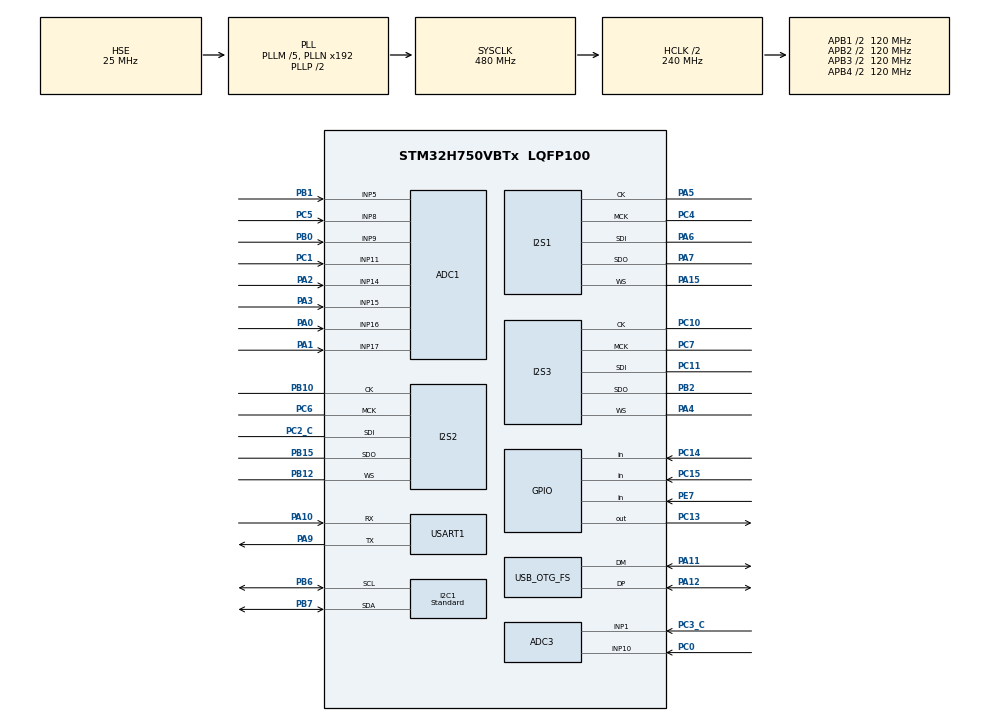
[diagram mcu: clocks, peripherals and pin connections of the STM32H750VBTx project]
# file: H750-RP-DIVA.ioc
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ADC1.Channel-1\#ChannelRegularConversion=ADC_CHANNEL_5
ADC1.NbrOfConversionFlag=1
ADC1.OffsetNumber-1\#ChannelRegularConversion=ADC_OFFSET_NONE
ADC1.OffsetSignedSaturation-1\#ChannelRegularConversion=DISABLE
ADC1.Rank-1\#ChannelRegularConversion=1
ADC1.SamplingTime-1\#ChannelRegularConversion=ADC_SAMPLETIME_1CYCLE_5
ADC1.master=1
ADC3.Channel-1\#ChannelRegularConversion=ADC_CHANNEL_1
ADC3.NbrOfConversionFlag=1
ADC3.OffsetNumber-1\#ChannelRegularConversion=ADC_OFFSET_NONE
ADC3.OffsetSignedSaturation-1\#ChannelRegularConversion=DISABLE
ADC3.Rank-1\#ChannelRegularConversion=1
ADC3.SamplingTime-1\#ChannelRegularConversion=ADC_SAMPLETIME_1CYCLE_5
CORTEX_M7.default_mode_Activation=1
Dma.I2C1_RX.6.Direction=DMA_PERIPH_TO_MEMORY
Dma.I2C1_RX.6.EventEnable=DISABLE
Dma.I2C1_RX.6.FIFOMode=DMA_FIFOMODE_DISABLE
Dma.I2C1_RX.6.Instance=DMA1_Stream6
Dma.I2C1_RX.6.MemDataAlignment=DMA_MDATAALIGN_BYTE
Dma.I2C1_RX.6.MemInc=DMA_MINC_ENABLE
Dma.I2C1_RX.6.Mode=DMA_NORMAL
Dma.I2C1_RX.6.PeriphDataAlignment=DMA_PDATAALIGN_BYTE
Dma.I2C1_RX.6.PeriphInc=DMA_PINC_DISABLE
Dma.I2C1_RX.6.Polarity=HAL_DMAMUX_REQ_GEN_RISING
Dma.I2C1_RX.6.Priority=DMA_PRIORITY_LOW
Dma.I2C1_RX.6.RequestNumber=1
Dma.I2C1_RX.6.SignalID=NONE
Dma.I2C1_RX.6.SyncEnable=DISABLE
Dma.I2C1_RX.6.SyncPolarity=HAL_DMAMUX_SYNC_NO_EVENT
Dma.I2C1_RX.6.SyncRequestNumber=1
Dma.I2C1_RX.6.SyncSignalID=NONE
Dma.Request0=SPI1_TX
Dma.Request1=SPI1_RX
Dma.Request2=SPI2_RX
Dma.Request3=SPI2_TX
Dma.Request4=SPI3_RX
Dma.Request5=SPI3_TX
Dma.Request6=I2C1_RX
Dma.SPI1_RX.1.Direction=DMA_PERIPH_TO_MEMORY
Dma.SPI1_RX.1.EventEnable=DISABLE
Dma.SPI1_RX.1.FIFOMode=DMA_FIFOMODE_DISABLE
Dma.SPI1_RX.1.Instance=DMA1_Stream1
Dma.SPI1_RX.1.MemDataAlignment=DMA_MDATAALIGN_WORD
Dma.SPI1_RX.1.MemInc=DMA_MINC_ENABLE
Dma.SPI1_RX.1.Mode=DMA_CIRCULAR
Dma.SPI1_RX.1.PeriphDataAlignment=DMA_PDATAALIGN_WORD
Dma.SPI1_RX.1.PeriphInc=DMA_PINC_DISABLE
Dma.SPI1_RX.1.Polarity=HAL_DMAMUX_REQ_GEN_RISING
Dma.SPI1_RX.1.Priority=DMA_PRIORITY_VERY_HIGH
Dma.SPI1_RX.1.RequestNumber=1
Dma.SPI1_RX.1.SignalID=NONE
Dma.SPI1_RX.1.SyncEnable=DISABLE
Dma.SPI1_RX.1.SyncPolarity=HAL_DMAMUX_SYNC_NO_EVENT
Dma.SPI1_RX.1.SyncRequestNumber=1
Dma.SPI1_RX.1.SyncSignalID=NONE
Dma.SPI1_TX.0.Direction=DMA_MEMORY_TO_PERIPH
Dma.SPI1_TX.0.EventEnable=DISABLE
Dma.SPI1_TX.0.FIFOMode=DMA_FIFOMODE_DISABLE
Dma.SPI1_TX.0.Instance=DMA1_Stream0
Dma.SPI1_TX.0.MemDataAlignment=DMA_MDATAALIGN_WORD
Dma.SPI1_TX.0.MemInc=DMA_MINC_ENABLE
Dma.SPI1_TX.0.Mode=DMA_CIRCULAR
Dma.SPI1_TX.0.PeriphDataAlignment=DMA_PDATAALIGN_WORD
Dma.SPI1_TX.0.PeriphInc=DMA_PINC_DISABLE
Dma.SPI1_TX.0.Polarity=HAL_DMAMUX_REQ_GEN_RISING
Dma.SPI1_TX.0.Priority=DMA_PRIORITY_VERY_HIGH
Dma.SPI1_TX.0.RequestNumber=1
Dma.SPI1_TX.0.SignalID=NONE
Dma.SPI1_TX.0.SyncEnable=DISABLE
Dma.SPI1_TX.0.SyncPolarity=HAL_DMAMUX_SYNC_NO_EVENT
Dma.SPI1_TX.0.SyncRequestNumber=1
Dma.SPI1_TX.0.SyncSignalID=NONE
Dma.SPI2_RX.2.Direction=DMA_PERIPH_TO_MEMORY
Dma.SPI2_RX.2.EventEnable=DISABLE
Dma.SPI2_RX.2.FIFOMode=DMA_FIFOMODE_DISABLE
Dma.SPI2_RX.2.Instance=DMA1_Stream3
Dma.SPI2_RX.2.MemDataAlignment=DMA_MDATAALIGN_WORD
Dma.SPI2_RX.2.MemInc=DMA_MINC_ENABLE
Dma.SPI2_RX.2.Mode=DMA_CIRCULAR
Dma.SPI2_RX.2.PeriphDataAlignment=DMA_PDATAALIGN_WORD
Dma.SPI2_RX.2.PeriphInc=DMA_PINC_DISABLE
Dma.SPI2_RX.2.Polarity=HAL_DMAMUX_REQ_GEN_RISING
Dma.SPI2_RX.2.Priority=DMA_PRIORITY_VERY_HIGH
Dma.SPI2_RX.2.RequestNumber=1
Dma.SPI2_RX.2.SignalID=NONE
Dma.SPI2_RX.2.SyncEnable=DISABLE
Dma.SPI2_RX.2.SyncPolarity=HAL_DMAMUX_SYNC_NO_EVENT
Dma.SPI2_RX.2.SyncRequestNumber=1
Dma.SPI2_RX.2.SyncSignalID=NONE
Dma.SPI2_TX.3.Direction=DMA_MEMORY_TO_PERIPH
Dma.SPI2_TX.3.EventEnable=DISABLE
Dma.SPI2_TX.3.FIFOMode=DMA_FIFOMODE_DISABLE
Dma.SPI2_TX.3.Instance=DMA1_Stream2
Dma.SPI2_TX.3.MemDataAlignment=DMA_MDATAALIGN_WORD
Dma.SPI2_TX.3.MemInc=DMA_MINC_ENABLE
Dma.SPI2_TX.3.Mode=DMA_CIRCULAR
Dma.SPI2_TX.3.PeriphDataAlignment=DMA_PDATAALIGN_WORD
Dma.SPI2_TX.3.PeriphInc=DMA_PINC_DISABLE
Dma.SPI2_TX.3.Polarity=HAL_DMAMUX_REQ_GEN_RISING
Dma.SPI2_TX.3.Priority=DMA_PRIORITY_VERY_HIGH
Dma.SPI2_TX.3.RequestNumber=1
Dma.SPI2_TX.3.SignalID=NONE
Dma.SPI2_TX.3.SyncEnable=DISABLE
Dma.SPI2_TX.3.SyncPolarity=HAL_DMAMUX_SYNC_NO_EVENT
Dma.SPI2_TX.3.SyncRequestNumber=1
Dma.SPI2_TX.3.SyncSignalID=NONE
Dma.SPI3_RX.4.Direction=DMA_PERIPH_TO_MEMORY
Dma.SPI3_RX.4.EventEnable=DISABLE
Dma.SPI3_RX.4.FIFOMode=DMA_FIFOMODE_DISABLE
Dma.SPI3_RX.4.Instance=DMA1_Stream4
Dma.SPI3_RX.4.MemDataAlignment=DMA_MDATAALIGN_WORD
Dma.SPI3_RX.4.MemInc=DMA_MINC_ENABLE
Dma.SPI3_RX.4.Mode=DMA_CIRCULAR
Dma.SPI3_RX.4.PeriphDataAlignment=DMA_PDATAALIGN_WORD
Dma.SPI3_RX.4.PeriphInc=DMA_PINC_DISABLE
Dma.SPI3_RX.4.Polarity=HAL_DMAMUX_REQ_GEN_RISING
Dma.SPI3_RX.4.Priority=DMA_PRIORITY_LOW
Dma.SPI3_RX.4.RequestNumber=1
Dma.SPI3_RX.4.SignalID=NONE
Dma.SPI3_RX.4.SyncEnable=DISABLE
Dma.SPI3_RX.4.SyncPolarity=HAL_DMAMUX_SYNC_NO_EVENT
Dma.SPI3_RX.4.SyncRequestNumber=1
Dma.SPI3_RX.4.SyncSignalID=NONE
Dma.SPI3_TX.5.Direction=DMA_MEMORY_TO_PERIPH
Dma.SPI3_TX.5.EventEnable=DISABLE
Dma.SPI3_TX.5.FIFOMode=DMA_FIFOMODE_DISABLE
Dma.SPI3_TX.5.Instance=DMA1_Stream5
Dma.SPI3_TX.5.MemDataAlignment=DMA_MDATAALIGN_WORD
Dma.SPI3_TX.5.MemInc=DMA_MINC_ENABLE
Dma.SPI3_TX.5.Mode=DMA_CIRCULAR
Dma.SPI3_TX.5.PeriphDataAlignment=DMA_PDATAALIGN_WORD
Dma.SPI3_TX.5.PeriphInc=DMA_PINC_DISABLE
Dma.SPI3_TX.5.Polarity=HAL_DMAMUX_REQ_GEN_RISING
Dma.SPI3_TX.5.Priority=DMA_PRIORITY_LOW
Dma.SPI3_TX.5.RequestNumber=1
Dma.SPI3_TX.5.SignalID=NONE
Dma.SPI3_TX.5.SyncEnable=DISABLE
Dma.SPI3_TX.5.SyncPolarity=HAL_DMAMUX_SYNC_NO_EVENT
Dma.SPI3_TX.5.SyncRequestNumber=1
Dma.SPI3_TX.5.SyncSignalID=NONE
FREERTOS.Tasks01=defaultTask,24,128,StartDefaultTask,Default,NULL,Dynamic,NULL,NULL
I2C1.I2C_Speed_Mode=I2C_Standard
I2C1.Timing=0x307075B1
I2S1.AudioFreq=I2S_AUDIOFREQ_48K
I2S1.Data24BitAlignment=I2S_DATA_24BIT_ALIGNMENT_RIGHT
I2S1.DataFormat=I2S_DATAFORMAT_24B
I2S1.ErrorAudioFreq=-2.34 %
I2S1.FirstBit=I2S_FIRSTBIT_MSB
I2S1.Instance=SPI$Index
I2S1.RealAudioFreq=46.875 KHz
I2S1.WSInversion=I2S_WS_INVERSION_DISABLE
I2S2.AudioFreq=I2S_AUDIOFREQ_48K
I2S2.DataFormat=I2S_DATAFORMAT_24B
I2S2.ErrorAudioFreq=-2.34 %
I2S2.Instance=SPI$Index
I2S2.RealAudioFreq=46.875 KHz
I2S3.AudioFreq=I2S_AUDIOFREQ_48K
I2S3.DataFormat=I2S_DATAFORMAT_24B
I2S3.ErrorAudioFreq=-2.34 %
I2S3.Instance=SPI$Index
I2S3.RealAudioFreq=46.875 KHz
Mcu.Family=STM32H7
Mcu.Name=STM32H750VBTx
Mcu.Package=LQFP100
NVIC.DMA1_Stream0_IRQn=true\:5\:0\:false\:false\:true\:true\:false\:true\:true
NVIC.DMA1_Stream1_IRQn=true\:5\:0\:false\:false\:true\:true\:false\:true\:true
NVIC.DMA1_Stream2_IRQn=true\:5\:0\:false\:false\:true\:true\:false\:true\:true
NVIC.DMA1_Stream3_IRQn=true\:5\:0\:false\:false\:true\:true\:false\:true\:true
NVIC.DMA1_Stream4_IRQn=true\:5\:0\:false\:false\:true\:true\:false\:true\:true
NVIC.DMA1_Stream5_IRQn=true\:5\:0\:false\:false\:true\:true\:false\:true\:true
NVIC.DMA1_Stream6_IRQn=true\:5\:0\:false\:false\:true\:true\:false\:true\:true
NVIC.OTG_FS_IRQn=true\:5\:0\:false\:false\:true\:true\:false\:true\:true
NVIC.PriorityGroup=NVIC_PRIORITYGROUP_4
PA0.Mode=IN16-Single-Ended
PA0.Signal=ADC1_INP16
PA1.Mode=IN17-Single-Ended
PA1.Signal=ADC1_INP17
PA10.Mode=Asynchronous
PA10.PinAttribute=Free
PA10.Signal=USART1_RX
PA11.Mode=Device_Only
PA11.Signal=USB_OTG_FS_DM
PA12.Mode=Device_Only
PA12.Signal=USB_OTG_FS_DP
PA13\ (JTMS/SWDIO).Mode=Serial_Wire
PA13\ (JTMS/SWDIO).Signal=DEBUG_JTMS-SWDIO
PA14\ (JTCK/SWCLK).Mode=Serial_Wire
PA14\ (JTCK/SWCLK).Signal=DEBUG_JTCK-SWCLK
PA15\ (JTDI).Mode=Full_Duplex_Master
PA15\ (JTDI).PinAttribute=Free
PA15\ (JTDI).Signal=I2S1_WS
PA2.Signal=ADCx_INP14
PA3.Signal=ADCx_INP15
PA4.Mode=Full_Duplex_Master
PA4.Signal=I2S3_WS
PA5.Mode=Full_Duplex_Master
PA5.PinAttribute=Free
PA5.Signal=I2S1_CK
PA6.Mode=Full_Duplex_Master
PA6.PinAttribute=Free
PA6.Signal=I2S1_SDI
PA7.Mode=Full_Duplex_Master
PA7.PinAttribute=Free
PA7.Signal=I2S1_SDO
PA9.Mode=Asynchronous
PA9.PinAttribute=Free
PA9.Signal=USART1_TX
PB0.Signal=ADCx_INP9
PB1.Signal=ADCx_INP5
PB10.Mode=Full_Duplex_Master
PB10.Signal=I2S2_CK
PB12.Mode=Full_Duplex_Master
PB12.Signal=I2S2_WS
PB15.Mode=Full_Duplex_Master
PB15.Signal=I2S2_SDO
PB2.Mode=Full_Duplex_Master
PB2.Signal=I2S3_SDO
PB6.Mode=I2C
PB6.Signal=I2C1_SCL
PB7.Mode=I2C
PB7.Signal=I2C1_SDA
PC0.Signal=ADCx_INP10
PC1.Signal=ADCx_INP11
PC10.Mode=Full_Duplex_Master
PC10.Signal=I2S3_CK
PC11.Mode=Full_Duplex_Master
PC11.Signal=I2S3_SDI
PC13.Signal=GPIO_Output
PC14-OSC32_IN\ (OSC32_IN).Signal=GPIO_Input
PC15-OSC32_OUT\ (OSC32_OUT).Signal=GPIO_Input
PC2_C.Mode=Full_Duplex_Master
PC2_C.Signal=I2S2_SDI
PC3_C.Mode=IN1-Single-Ended
PC3_C.Signal=ADC3_INP1
PC4.Mode=Master_Clock_Activated
PC4.PinAttribute=Free
PC4.Signal=I2S1_MCK
PC5.Signal=ADCx_INP8
PC6.Mode=Master_Clock_Activated
PC6.Signal=I2S2_MCK
PC7.Mode=Master_Clock_Activated
PC7.Signal=I2S3_MCK
PE7.Signal=GPIO_Input
PH0-OSC_IN\ (PH0).Mode=HSE-External-Oscillator
PH0-OSC_IN\ (PH0).Signal=RCC_OSC_IN
PH1-OSC_OUT\ (PH1).Mode=HSE-External-Oscillator
PH1-OSC_OUT\ (PH1).Signal=RCC_OSC_OUT
ProjectManager.HeapSize=0x4000
ProjectManager.StackSize=0x4000
ProjectManager.TargetToolchain=MDK-ARM V5.32
RCC.ADCCLockSelection=RCC_ADCCLKSOURCE_PLL3
RCC.ADCFreq_Value=80000000
RCC.APB1Freq_Value=120000000
RCC.APB2Freq_Value=120000000
RCC.APB3Freq_Value=120000000
RCC.APB4Freq_Value=120000000
RCC.CortexFreq_Value=480000000
RCC.D1PPRE=RCC_APB3_DIV2
RCC.D2PPRE1=RCC_APB1_DIV2
RCC.D2PPRE2=RCC_APB2_DIV2
RCC.D3PPRE=RCC_APB4_DIV2
RCC.DIVM1=5
RCC.DIVM2=5
RCC.DIVM3=5
RCC.DIVN1=192
RCC.DIVN2=192
RCC.DIVN3=192
RCC.DIVP2=5
RCC.DIVP3=8
RCC.DIVQ1=7
RCC.DIVQ2=8
RCC.DIVQ3=20
RCC.DIVR2=4
RCC.DIVR3=12
RCC.HCLKFreq_Value=240000000
RCC.HPRE=RCC_HCLK_DIV2
RCC.HSE_VALUE=25000000
RCC.HSIDiv=RCC_PLLSAIDIVR_4
RCC.PLL2_VCI_Range-AdvancedSettings=RCC_PLL2VCIRANGE_3
RCC.PLLSourceVirtual=RCC_PLLSOURCE_HSE
RCC.QSPICLockSelection=RCC_QSPICLKSOURCE_PLL2
RCC.SAI1CLockSelection=RCC_SAI1CLKSOURCE_PLL3
RCC.SAI23CLockSelection=RCC_SAI23CLKSOURCE_PLL3
RCC.SPI123CLockSelection=RCC_SPI123CLKSOURCE_PLL2
RCC.SYSCLKFreq_VALUE=480000000
RCC.SYSCLKSource=RCC_SYSCLKSOURCE_PLLCLK
RCC.USART16CLockSelection=RCC_USART16CLKSOURCE_PLL2
RCC.USBCLockSelection=RCC_USBCLKSOURCE_PLL3
RCC.USBFreq_Value=48000000
SH.ADCx_INP10.0=ADC3_INP10,IN10-Single-Ended
SH.ADCx_INP11.0=ADC1_INP11,IN11-Single-Ended
SH.ADCx_INP14.0=ADC1_INP14,IN14-Single-Ended
SH.ADCx_INP15.0=ADC1_INP15,IN15-Single-Ended
SH.ADCx_INP5.0=ADC1_INP5,IN5-Single-Ended
SH.ADCx_INP8.0=ADC1_INP8,IN8-Single-Ended
SH.ADCx_INP9.0=ADC1_INP9,IN9-Single-Ended
USART1.VirtualMode-Asynchronous=VM_ASYNC
USB_DEVICE.CLASS_NAME_FS=HID
USB_DEVICE.PRODUCT_STRING_HID_FS=RP-DIVA
USB_DEVICE.VirtualMode-HID_FS=Hid
USB_DEVICE.VirtualModeFS=Hid_FS
USB_OTG_FS.VirtualMode=Device_Only
USB_OTG_FS.dma_enable=DISABLE
VP_FREERTOS_VS_CMSIS_V2.Mode=CMSIS_V2
VP_MEMORYMAP_VS_MEMORYMAP.Mode=CurAppReg
VP_USB_DEVICE_VS_USB_DEVICE_HID_FS.Mode=HID_FS
board=custom

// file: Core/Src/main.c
/* USER CODE BEGIN Header */
/**
 ******************************************************************************
 * @file           : main.c
 * @brief          : Main program body
 ******************************************************************************
 * @attention
 *
 * Copyright (c) 2024 STMicroelectronics.
 * All rights reserved.
 *
 * This software is licensed under terms that can be found in the LICENSE file
 * in the root directory of this software component.
 * If no LICENSE file comes with this software, it is provided AS-IS.
 *
 ******************************************************************************
 */
/* USER CODE END Header */
#include "main.h"
#include "cmsis_os.h"
#include "usb_device.h"

/* USER CODE BEGIN Includes */

#include "stm32h7xx_hal.h"
#include "printf.h"
#include "stdlib.h"
#include "codec.h"

#include "midi.h"
#include "synth.h"
#include "lpc.h"

/* USER CODE END Includes */

ADC_HandleTypeDef hadc1;
ADC_HandleTypeDef hadc3;

I2C_HandleTypeDef hi2c1;
DMA_HandleTypeDef hdma_i2c1_rx;

I2S_HandleTypeDef hi2s1;
I2S_HandleTypeDef hi2s2;
I2S_HandleTypeDef hi2s3;
DMA_HandleTypeDef hdma_spi1_tx;
DMA_HandleTypeDef hdma_spi1_rx;
DMA_HandleTypeDef hdma_spi2_rx;
DMA_HandleTypeDef hdma_spi2_tx;
DMA_HandleTypeDef hdma_spi3_rx;
DMA_HandleTypeDef hdma_spi3_tx;

UART_HandleTypeDef huart1;

/* Definitions for defaultTask */
osThreadId_t defaultTaskHandle;
const osThreadAttr_t defaultTask_attributes = {
  .name = "defaultTask",
  .stack_size = 128 * 4,
  .priority = (osPriority_t) osPriorityNormal,
};

void SystemClock_Config(void);
void PeriphCommonClock_Config(void);
static void MPU_Config(void);
static void MX_GPIO_Init(void);
static void MX_DMA_Init(void);
static void MX_I2S1_Init(void);
static void MX_USART1_UART_Init(void);
static void MX_I2S2_Init(void);
static void MX_I2S3_Init(void);
static void MX_ADC1_Init(void);
static void MX_ADC3_Init(void);
static void MX_I2C1_Init(void);
void StartDefaultTask(void *argument);

/* USER CODE BEGIN 0 */

#define buflen 768

Synth syn;
float recl[buflen / 2];
float recr[buflen / 2];
float bufl[buflen / 2];
float bufr[buflen / 2];

float hpvl = 0; // 给audio in加个高�?�用�?
float hpvr = 0;
float hpctof = 50 / 48000;

void __attribute__((section("ITCMRAM"))) processBlock()
{
  while (HasMidiMsg())
  {
    SynthProcMidi(&syn, GetMidiMsg());
  }

  int numSamples = codecGetNumSamples();
  int32_t *recbuf1 = codecGetRx1Ptr();
  int32_t *wavbuf1 = codecGetTx1Ptr();
  int32_t *recbuf2 = codecGetRx2Ptr();
  int32_t *wavbuf2 = codecGetTx2Ptr();
  int32_t *recbuf3 = codecGetRx3Ptr();
  int32_t *wavbuf3 = codecGetTx3Ptr();
  float to_int = (int)1 << 22;
  float div_to_int = 1.0 / to_int;
  for (int i = 0, j = 0; i < numSamples; i += 2, j++)
  {
    float vl = recbuf1[i + 0] * div_to_int;
    float vr = recbuf1[i + 1] * div_to_int;
    hpvl += hpctof * (vl - hpvl);
    hpvr += hpctof * (vr - hpvr);
    recl[j] = vl - hpvl;
    recr[j] = vr - hpvr;
  }
  SynthProcessBlock(&syn, recl, recr, bufl, bufr, buflen / 2);
  for (int i = 0, j = 0; i < numSamples; i += 2, j++)
  {
    wavbuf1[i + 0] = bufl[j] * to_int * 0.25;
    wavbuf1[i + 1] = bufr[j] * to_int * 0.25;
  }
}

//////////////////////////////////////////////////////////////
// I2C
typedef struct __packed
{
  float adc[16];
  char gpio[30];
} F103IOInfo;

F103IOInfo F103IORecv, F103IOCopy;
void HAL_I2C_MasterRxCpltCallback(I2C_HandleTypeDef *hi2c)
{
  if (hi2c == &hi2c1)
  {
    F103IOCopy = F103IORecv;
    uart_printf("recv!\r\n");
  }
}

/* USER CODE END 0 */

int main(void)
{

  /* MPU Configuration--------------------------------------------------------*/
  MPU_Config();

  /* MCU Configuration--------------------------------------------------------*/

  /* Reset of all peripherals, Initializes the Flash interface and the Systick. */
  HAL_Init();

  /* Configure the system clock */
  SystemClock_Config();

  /* Configure the peripherals common clocks */
  PeriphCommonClock_Config();

  /* Initialize all configured peripherals */
  MX_GPIO_Init();
  MX_DMA_Init();
  MX_I2S1_Init();
  MX_USART1_UART_Init();
  MX_I2S2_Init();
  MX_I2S3_Init();
  MX_ADC1_Init();
  MX_ADC3_Init();
  MX_I2C1_Init();
  /* USER CODE BEGIN 2 */

  uart_setUartHandle(&huart1);
  uart_printf("\r\nSystemClock:%.5fMhz", (float)HAL_RCC_GetSysClockFreq() / 1000000.0);

  /* USER CODE END 2 */

  /* Init scheduler */
  osKernelInitialize();

  /* Create the thread(s) */
  /* creation of defaultTask */
  defaultTaskHandle = osThreadNew(StartDefaultTask, NULL, &defaultTask_attributes);

  /* Start scheduler */
  osKernelStart();

  /* We should never get here as control is now taken by the scheduler */

  /* Infinite loop */
  /* USER CODE BEGIN WHILE */

  ResetSynth(&syn);

  // HAL_Delay(50);
  codecInit(&hi2s1, &hi2s2, &hi2s3);
  // HAL_Delay(150);

  SysTick->LOAD = 0xFFFFFF;
  uint64_t allTime = 0;
  uint64_t procTime = 0;
  for (int nCount = 0;; nCount++)
  {
    SysTick->VAL = 0;
    codecWaitForAllBufferPrepare();

    int timeA = 0xFFFFFF - SysTick->VAL;
    processBlock();
    int timeB = 0xFFFFFF - SysTick->VAL;

    allTime += timeB;
    procTime += timeB - timeA;

    HAL_I2C_Master_Receive_DMA(&hi2c1, 0x33, (uint8_t *)&F103IORecv, sizeof(F103IOInfo));

    if (nCount >= 96)
    {
      uart_printf("\r\ncpu:%.5f%%", (double)procTime / allTime * 100.0);
      nCount = 0;
      allTime = 0;
      procTime = 0;
    }
  }

    /* USER CODE END WHILE */

}

void SystemClock_Config(void)
{
  RCC_OscInitTypeDef RCC_OscInitStruct = {0};
  RCC_ClkInitTypeDef RCC_ClkInitStruct = {0};

  /** Supply configuration update enable
  */
  HAL_PWREx_ConfigSupply(PWR_LDO_SUPPLY);

  /** Configure the main internal regulator output voltage
  */
  __HAL_PWR_VOLTAGESCALING_CONFIG(PWR_REGULATOR_VOLTAGE_SCALE1);

  while(!__HAL_PWR_GET_FLAG(PWR_FLAG_VOSRDY)) {}

  __HAL_RCC_SYSCFG_CLK_ENABLE();
  __HAL_PWR_VOLTAGESCALING_CONFIG(PWR_REGULATOR_VOLTAGE_SCALE0);

  while(!__HAL_PWR_GET_FLAG(PWR_FLAG_VOSRDY)) {}

  /** Initializes the RCC Oscillators according to the specified parameters
  * in the RCC_OscInitTypeDef structure.
  */
  RCC_OscInitStruct.OscillatorType = RCC_OSCILLATORTYPE_HSE;
  RCC_OscInitStruct.HSEState = RCC_HSE_ON;
  RCC_OscInitStruct.PLL.PLLState = RCC_PLL_ON;
  RCC_OscInitStruct.PLL.PLLSource = RCC_PLLSOURCE_HSE;
  RCC_OscInitStruct.PLL.PLLM = 5;
  RCC_OscInitStruct.PLL.PLLN = 192;
  RCC_OscInitStruct.PLL.PLLP = 2;
  RCC_OscInitStruct.PLL.PLLQ = 7;
  RCC_OscInitStruct.PLL.PLLR = 2;
  RCC_OscInitStruct.PLL.PLLRGE = RCC_PLL1VCIRANGE_2;
  RCC_OscInitStruct.PLL.PLLVCOSEL = RCC_PLL1VCOWIDE;
  RCC_OscInitStruct.PLL.PLLFRACN = 0;
  if (HAL_RCC_OscConfig(&RCC_OscInitStruct) != HAL_OK)
  {
    Error_Handler();
  }

  /** Initializes the CPU, AHB and APB buses clocks
  */
  RCC_ClkInitStruct.ClockType = RCC_CLOCKTYPE_HCLK|RCC_CLOCKTYPE_SYSCLK
                              |RCC_CLOCKTYPE_PCLK1|RCC_CLOCKTYPE_PCLK2
                              |RCC_CLOCKTYPE_D3PCLK1|RCC_CLOCKTYPE_D1PCLK1;
  RCC_ClkInitStruct.SYSCLKSource = RCC_SYSCLKSOURCE_PLLCLK;
  RCC_ClkInitStruct.SYSCLKDivider = RCC_SYSCLK_DIV1;
  RCC_ClkInitStruct.AHBCLKDivider = RCC_HCLK_DIV2;
  RCC_ClkInitStruct.APB3CLKDivider = RCC_APB3_DIV2;
  RCC_ClkInitStruct.APB1CLKDivider = RCC_APB1_DIV2;
  RCC_ClkInitStruct.APB2CLKDivider = RCC_APB2_DIV2;
  RCC_ClkInitStruct.APB4CLKDivider = RCC_APB4_DIV2;

  if (HAL_RCC_ClockConfig(&RCC_ClkInitStruct, FLASH_LATENCY_4) != HAL_OK)
  {
    Error_Handler();
  }
}

void PeriphCommonClock_Config(void)
{
  RCC_PeriphCLKInitTypeDef PeriphClkInitStruct = {0};

  /** Initializes the peripherals clock
  */
  PeriphClkInitStruct.PeriphClockSelection = RCC_PERIPHCLK_USB|RCC_PERIPHCLK_ADC
                              |RCC_PERIPHCLK_SPI3|RCC_PERIPHCLK_SPI2
                              |RCC_PERIPHCLK_SPI1|RCC_PERIPHCLK_USART1;
  PeriphClkInitStruct.PLL2.PLL2M = 5;
  PeriphClkInitStruct.PLL2.PLL2N = 192;
  PeriphClkInitStruct.PLL2.PLL2P = 5;
  PeriphClkInitStruct.PLL2.PLL2Q = 8;
  PeriphClkInitStruct.PLL2.PLL2R = 4;
  PeriphClkInitStruct.PLL2.PLL2RGE = RCC_PLL2VCIRANGE_2;
  PeriphClkInitStruct.PLL2.PLL2VCOSEL = RCC_PLL2VCOWIDE;
  PeriphClkInitStruct.PLL2.PLL2FRACN = 0;
  PeriphClkInitStruct.PLL3.PLL3M = 5;
  PeriphClkInitStruct.PLL3.PLL3N = 192;
  PeriphClkInitStruct.PLL3.PLL3P = 8;
  PeriphClkInitStruct.PLL3.PLL3Q = 20;
  PeriphClkInitStruct.PLL3.PLL3R = 12;
  PeriphClkInitStruct.PLL3.PLL3RGE = RCC_PLL3VCIRANGE_2;
  PeriphClkInitStruct.PLL3.PLL3VCOSEL = RCC_PLL3VCOWIDE;
  PeriphClkInitStruct.PLL3.PLL3FRACN = 0;
  PeriphClkInitStruct.Spi123ClockSelection = RCC_SPI123CLKSOURCE_PLL2;
  PeriphClkInitStruct.Usart16ClockSelection = RCC_USART16CLKSOURCE_PLL2;
  PeriphClkInitStruct.UsbClockSelection = RCC_USBCLKSOURCE_PLL3;
  PeriphClkInitStruct.AdcClockSelection = RCC_ADCCLKSOURCE_PLL3;
  if (HAL_RCCEx_PeriphCLKConfig(&PeriphClkInitStruct) != HAL_OK)
  {
    Error_Handler();
  }
}

static void MX_ADC1_Init(void)
{

  ADC_MultiModeTypeDef multimode = {0};
  ADC_ChannelConfTypeDef sConfig = {0};

  /** Common config
  */
  hadc1.Instance = ADC1;
  hadc1.Init.ScanConvMode = ADC_SCAN_DISABLE;
  hadc1.Init.EOCSelection = ADC_EOC_SINGLE_CONV;
  hadc1.Init.LowPowerAutoWait = DISABLE;
  hadc1.Init.ContinuousConvMode = DISABLE;
  hadc1.Init.NbrOfConversion = 1;
  hadc1.Init.DiscontinuousConvMode = DISABLE;
  hadc1.Init.ExternalTrigConv = ADC_SOFTWARE_START;
  hadc1.Init.ExternalTrigConvEdge = ADC_EXTERNALTRIGCONVEDGE_NONE;
  hadc1.Init.ConversionDataManagement = ADC_CONVERSIONDATA_DR;
  hadc1.Init.Overrun = ADC_OVR_DATA_PRESERVED;
  hadc1.Init.LeftBitShift = ADC_LEFTBITSHIFT_NONE;
  hadc1.Init.OversamplingMode = DISABLE;
  hadc1.Init.Oversampling.Ratio = 1;
  if (HAL_ADC_Init(&hadc1) != HAL_OK)
  {
    Error_Handler();
  }
  hadc1.Init.ClockPrescaler = ADC_CLOCK_ASYNC_DIV1;
  hadc1.Init.Resolution = ADC_RESOLUTION_16B;
  if (HAL_ADC_Init(&hadc1) != HAL_OK)
  {
    Error_Handler();
  }

  /** Configure the ADC multi-mode
  */
  multimode.Mode = ADC_MODE_INDEPENDENT;
  if (HAL_ADCEx_MultiModeConfigChannel(&hadc1, &multimode) != HAL_OK)
  {
    Error_Handler();
  }

  /** Configure Regular Channel
  */
  sConfig.Channel = ADC_CHANNEL_5;
  sConfig.Rank = ADC_REGULAR_RANK_1;
  sConfig.SamplingTime = ADC_SAMPLETIME_1CYCLE_5;
  sConfig.SingleDiff = ADC_SINGLE_ENDED;
  sConfig.OffsetNumber = ADC_OFFSET_NONE;
  sConfig.Offset = 0;
  sConfig.OffsetSignedSaturation = DISABLE;
  if (HAL_ADC_ConfigChannel(&hadc1, &sConfig) != HAL_OK)
  {
    Error_Handler();
  }

}

static void MX_ADC3_Init(void)
{

  ADC_ChannelConfTypeDef sConfig = {0};

  /** Common config
  */
  hadc3.Instance = ADC3;
  hadc3.Init.ClockPrescaler = ADC_CLOCK_ASYNC_DIV1;
  hadc3.Init.ScanConvMode = ADC_SCAN_DISABLE;
  hadc3.Init.EOCSelection = ADC_EOC_SINGLE_CONV;
  hadc3.Init.LowPowerAutoWait = DISABLE;
  hadc3.Init.ContinuousConvMode = DISABLE;
  hadc3.Init.NbrOfConversion = 1;
  hadc3.Init.DiscontinuousConvMode = DISABLE;
  hadc3.Init.ExternalTrigConv = ADC_SOFTWARE_START;
  hadc3.Init.ExternalTrigConvEdge = ADC_EXTERNALTRIGCONVEDGE_NONE;
  hadc3.Init.ConversionDataManagement = ADC_CONVERSIONDATA_DR;
  hadc3.Init.Overrun = ADC_OVR_DATA_PRESERVED;
  hadc3.Init.LeftBitShift = ADC_LEFTBITSHIFT_NONE;
  hadc3.Init.OversamplingMode = DISABLE;
  hadc3.Init.Oversampling.Ratio = 1;
  if (HAL_ADC_Init(&hadc3) != HAL_OK)
  {
    Error_Handler();
  }
  hadc3.Init.Resolution = ADC_RESOLUTION_16B;
  if (HAL_ADC_Init(&hadc3) != HAL_OK)
  {
    Error_Handler();
  }

  /** Configure Regular Channel
  */
  sConfig.Channel = ADC_CHANNEL_1;
  sConfig.Rank = ADC_REGULAR_RANK_1;
  sConfig.SamplingTime = ADC_SAMPLETIME_1CYCLE_5;
  sConfig.SingleDiff = ADC_SINGLE_ENDED;
  sConfig.OffsetNumber = ADC_OFFSET_NONE;
  sConfig.Offset = 0;
  sConfig.OffsetSignedSaturation = DISABLE;
  if (HAL_ADC_ConfigChannel(&hadc3, &sConfig) != HAL_OK)
  {
    Error_Handler();
  }

}

static void MX_I2C1_Init(void)
{

  hi2c1.Instance = I2C1;
  hi2c1.Init.Timing = 0x307075B1;
  hi2c1.Init.OwnAddress1 = 0;
  hi2c1.Init.AddressingMode = I2C_ADDRESSINGMODE_7BIT;
  hi2c1.Init.DualAddressMode = I2C_DUALADDRESS_DISABLE;
  hi2c1.Init.OwnAddress2 = 0;
  hi2c1.Init.OwnAddress2Masks = I2C_OA2_NOMASK;
  hi2c1.Init.GeneralCallMode = I2C_GENERALCALL_DISABLE;
  hi2c1.Init.NoStretchMode = I2C_NOSTRETCH_DISABLE;
  if (HAL_I2C_Init(&hi2c1) != HAL_OK)
  {
    Error_Handler();
  }

  /** Configure Analogue filter
  */
  if (HAL_I2CEx_ConfigAnalogFilter(&hi2c1, I2C_ANALOGFILTER_ENABLE) != HAL_OK)
  {
    Error_Handler();
  }

  /** Configure Digital filter
  */
  if (HAL_I2CEx_ConfigDigitalFilter(&hi2c1, 0) != HAL_OK)
  {
    Error_Handler();
  }

}

static void MX_I2S1_Init(void)
{

  hi2s1.Instance = SPI1;
  hi2s1.Init.Mode = I2S_MODE_MASTER_FULLDUPLEX;
  hi2s1.Init.Standard = I2S_STANDARD_PHILIPS;
  hi2s1.Init.DataFormat = I2S_DATAFORMAT_24B;
  hi2s1.Init.MCLKOutput = I2S_MCLKOUTPUT_ENABLE;
  hi2s1.Init.AudioFreq = I2S_AUDIOFREQ_48K;
  hi2s1.Init.CPOL = I2S_CPOL_LOW;
  hi2s1.Init.FirstBit = I2S_FIRSTBIT_MSB;
  hi2s1.Init.WSInversion = I2S_WS_INVERSION_DISABLE;
  hi2s1.Init.Data24BitAlignment = I2S_DATA_24BIT_ALIGNMENT_RIGHT;
  hi2s1.Init.MasterKeepIOState = I2S_MASTER_KEEP_IO_STATE_DISABLE;
  if (HAL_I2S_Init(&hi2s1) != HAL_OK)
  {
    Error_Handler();
  }

}

static void MX_I2S2_Init(void)
{

  hi2s2.Instance = SPI2;
  hi2s2.Init.Mode = I2S_MODE_MASTER_FULLDUPLEX;
  hi2s2.Init.Standard = I2S_STANDARD_PHILIPS;
  hi2s2.Init.DataFormat = I2S_DATAFORMAT_24B;
  hi2s2.Init.MCLKOutput = I2S_MCLKOUTPUT_ENABLE;
  hi2s2.Init.AudioFreq = I2S_AUDIOFREQ_48K;
  hi2s2.Init.CPOL = I2S_CPOL_LOW;
  hi2s2.Init.FirstBit = I2S_FIRSTBIT_MSB;
  hi2s2.Init.WSInversion = I2S_WS_INVERSION_DISABLE;
  hi2s2.Init.Data24BitAlignment = I2S_DATA_24BIT_ALIGNMENT_RIGHT;
  hi2s2.Init.MasterKeepIOState = I2S_MASTER_KEEP_IO_STATE_DISABLE;
  if (HAL_I2S_Init(&hi2s2) != HAL_OK)
  {
    Error_Handler();
  }

}

static void MX_I2S3_Init(void)
{

  hi2s3.Instance = SPI3;
  hi2s3.Init.Mode = I2S_MODE_MASTER_FULLDUPLEX;
  hi2s3.Init.Standard = I2S_STANDARD_PHILIPS;
  hi2s3.Init.DataFormat = I2S_DATAFORMAT_24B;
  hi2s3.Init.MCLKOutput = I2S_MCLKOUTPUT_ENABLE;
  hi2s3.Init.AudioFreq = I2S_AUDIOFREQ_48K;
  hi2s3.Init.CPOL = I2S_CPOL_LOW;
  hi2s3.Init.FirstBit = I2S_FIRSTBIT_MSB;
  hi2s3.Init.WSInversion = I2S_WS_INVERSION_DISABLE;
  hi2s3.Init.Data24BitAlignment = I2S_DATA_24BIT_ALIGNMENT_RIGHT;
  hi2s3.Init.MasterKeepIOState = I2S_MASTER_KEEP_IO_STATE_DISABLE;
  if (HAL_I2S_Init(&hi2s3) != HAL_OK)
  {
    Error_Handler();
  }

}

static void MX_USART1_UART_Init(void)
{

  huart1.Instance = USART1;
  huart1.Init.BaudRate = 115200;
  huart1.Init.WordLength = UART_WORDLENGTH_8B;
  huart1.Init.StopBits = UART_STOPBITS_1;
  huart1.Init.Parity = UART_PARITY_NONE;
  huart1.Init.Mode = UART_MODE_TX_RX;
  huart1.Init.HwFlowCtl = UART_HWCONTROL_NONE;
  huart1.Init.OverSampling = UART_OVERSAMPLING_16;
  huart1.Init.OneBitSampling = UART_ONE_BIT_SAMPLE_DISABLE;
  huart1.Init.ClockPrescaler = UART_PRESCALER_DIV1;
  huart1.AdvancedInit.AdvFeatureInit = UART_ADVFEATURE_NO_INIT;
  if (HAL_UART_Init(&huart1) != HAL_OK)
  {
    Error_Handler();
  }
  if (HAL_UARTEx_SetTxFifoThreshold(&huart1, UART_TXFIFO_THRESHOLD_1_8) != HAL_OK)
  {
    Error_Handler();
  }
  if (HAL_UARTEx_SetRxFifoThreshold(&huart1, UART_RXFIFO_THRESHOLD_1_8) != HAL_OK)
  {
    Error_Handler();
  }
  if (HAL_UARTEx_DisableFifoMode(&huart1) != HAL_OK)
  {
    Error_Handler();
  }

}

static void MX_DMA_Init(void)
{

  /* DMA controller clock enable */
  __HAL_RCC_DMA1_CLK_ENABLE();

  /* DMA interrupt init */
  /* DMA1_Stream0_IRQn interrupt configuration */
  HAL_NVIC_SetPriority(DMA1_Stream0_IRQn, 5, 0);
  HAL_NVIC_EnableIRQ(DMA1_Stream0_IRQn);
  /* DMA1_Stream1_IRQn interrupt configuration */
  HAL_NVIC_SetPriority(DMA1_Stream1_IRQn, 5, 0);
  HAL_NVIC_EnableIRQ(DMA1_Stream1_IRQn);
  /* DMA1_Stream2_IRQn interrupt configuration */
  HAL_NVIC_SetPriority(DMA1_Stream2_IRQn, 5, 0);
  HAL_NVIC_EnableIRQ(DMA1_Stream2_IRQn);
  /* DMA1_Stream3_IRQn interrupt configuration */
  HAL_NVIC_SetPriority(DMA1_Stream3_IRQn, 5, 0);
  HAL_NVIC_EnableIRQ(DMA1_Stream3_IRQn);
  /* DMA1_Stream4_IRQn interrupt configuration */
  HAL_NVIC_SetPriority(DMA1_Stream4_IRQn, 5, 0);
  HAL_NVIC_EnableIRQ(DMA1_Stream4_IRQn);
  /* DMA1_Stream5_IRQn interrupt configuration */
  HAL_NVIC_SetPriority(DMA1_Stream5_IRQn, 5, 0);
  HAL_NVIC_EnableIRQ(DMA1_Stream5_IRQn);
  /* DMA1_Stream6_IRQn interrupt configuration */
  HAL_NVIC_SetPriority(DMA1_Stream6_IRQn, 5, 0);
  HAL_NVIC_EnableIRQ(DMA1_Stream6_IRQn);

}

static void MX_GPIO_Init(void)
{
  GPIO_InitTypeDef GPIO_InitStruct = {0};

  /* GPIO Ports Clock Enable */
  __HAL_RCC_GPIOC_CLK_ENABLE();
  __HAL_RCC_GPIOH_CLK_ENABLE();
  __HAL_RCC_GPIOA_CLK_ENABLE();
  __HAL_RCC_GPIOB_CLK_ENABLE();
  __HAL_RCC_GPIOE_CLK_ENABLE();

  /*Configure GPIO pin Output Level */
  HAL_GPIO_WritePin(GPIOC, GPIO_PIN_13, GPIO_PIN_RESET);

  /*Configure GPIO pin : PC13 */
  GPIO_InitStruct.Pin = GPIO_PIN_13;
  GPIO_InitStruct.Mode = GPIO_MODE_OUTPUT_PP;
  GPIO_InitStruct.Pull = GPIO_NOPULL;
  GPIO_InitStruct.Speed = GPIO_SPEED_FREQ_LOW;
  HAL_GPIO_Init(GPIOC, &GPIO_InitStruct);

  /*Configure GPIO pins : PC14 PC15 */
  GPIO_InitStruct.Pin = GPIO_PIN_14|GPIO_PIN_15;
  GPIO_InitStruct.Mode = GPIO_MODE_INPUT;
  GPIO_InitStruct.Pull = GPIO_NOPULL;
  HAL_GPIO_Init(GPIOC, &GPIO_InitStruct);

  /*Configure GPIO pin : PE7 */
  GPIO_InitStruct.Pin = GPIO_PIN_7;
  GPIO_InitStruct.Mode = GPIO_MODE_INPUT;
  GPIO_InitStruct.Pull = GPIO_NOPULL;
  HAL_GPIO_Init(GPIOE, &GPIO_InitStruct);

}

void StartDefaultTask(void *argument)
{
  /* init code for USB_DEVICE */
  MX_USB_DEVICE_Init();
  for(;;)
  {
    osDelay(1);
  }
}

 /* MPU Configuration */

void MPU_Config(void)
{
  MPU_Region_InitTypeDef MPU_InitStruct = {0};

  /* Disables the MPU */
  HAL_MPU_Disable();

  /** Initializes and configures the Region and the memory to be protected
  */
  MPU_InitStruct.Enable = MPU_REGION_ENABLE;
  MPU_InitStruct.Number = MPU_REGION_NUMBER0;
  MPU_InitStruct.BaseAddress = 0x0;
  MPU_InitStruct.Size = MPU_REGION_SIZE_4GB;
  MPU_InitStruct.SubRegionDisable = 0x87;
  MPU_InitStruct.TypeExtField = MPU_TEX_LEVEL0;
  MPU_InitStruct.AccessPermission = MPU_REGION_NO_ACCESS;
  MPU_InitStruct.DisableExec = MPU_INSTRUCTION_ACCESS_DISABLE;
  MPU_InitStruct.IsShareable = MPU_ACCESS_SHAREABLE;
  MPU_InitStruct.IsCacheable = MPU_ACCESS_NOT_CACHEABLE;
  MPU_InitStruct.IsBufferable = MPU_ACCESS_NOT_BUFFERABLE;

  HAL_MPU_ConfigRegion(&MPU_InitStruct);
  /* Enables the MPU */
  HAL_MPU_Enable(MPU_PRIVILEGED_DEFAULT);

}

void Error_Handler(void)
{
  __disable_irq();
  while (1)
  {
  }
}
